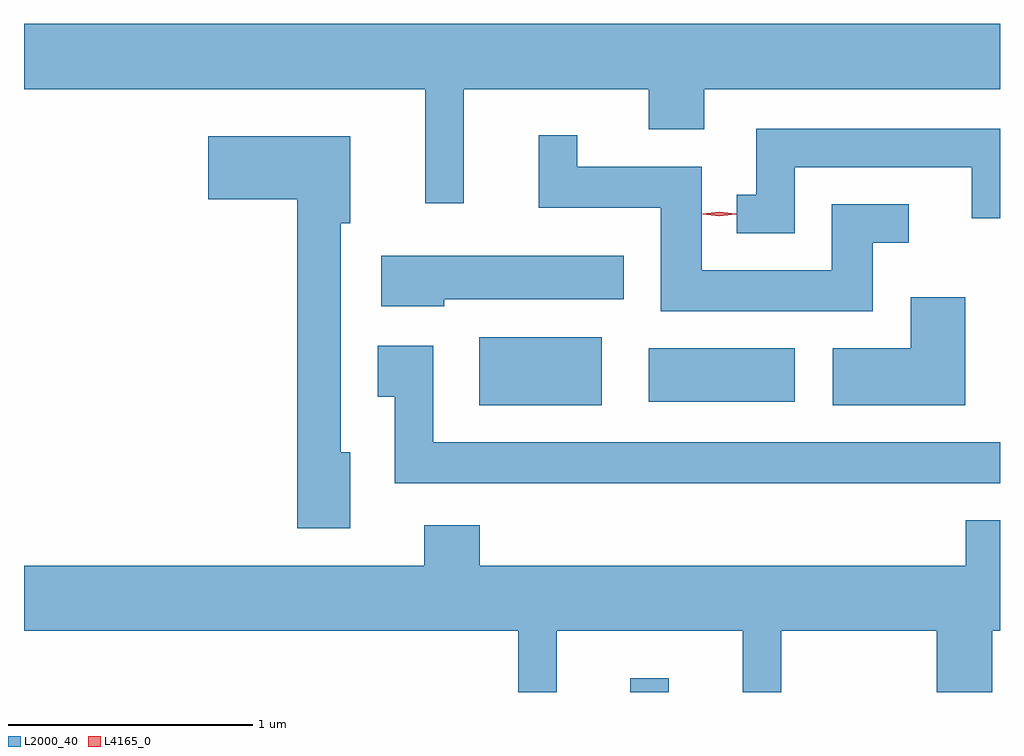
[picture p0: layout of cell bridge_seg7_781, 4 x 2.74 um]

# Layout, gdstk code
import gdstk
lib = gdstk.Library(unit=1e-6, precision=1e-09)
def R(c, l, rs):  # rectangles x0, y0, x1, y1
    for r in rs: c.add(gdstk.rectangle(r[:2], r[2:], *l))
def P(c, l, *ps):  # polygons
    for p in ps: c.add(gdstk.Polygon(p, *l))
L2000_40 = (2000, 40)
L4165_0 = (4165, 0)

bridge_seg7_781 = lib.new_cell('bridge_seg7_781')
R(bridge_seg7_781, L2000_40, [(350.596,1738.485,350.754,1738.543), (349.976,1739.661,350.479,1739.939), (350.671,1739.676,351.269,1739.894)])
P(bridge_seg7_781, L2000_40, [(349.914,1740.956),(350.671,1740.956),(350.671,1740.791),(350.899,1740.791),(350.899,1740.956),(352.111,1740.956),(352.111,1741.224),(348.111,1741.224),(348.111,1740.956),(349.756,1740.956),(349.756,1740.488),(349.914,1740.488)],
  [(351.269,1740.636),(351.996,1740.636),(351.996,1740.428),(352.111,1740.428),(352.111,1740.794),(351.111,1740.794),(351.111,1740.524),(351.033,1740.524),(351.033,1740.366),(351.269,1740.366)],
  [(351.589,1740.326),(351.738,1740.326),(351.738,1740.484),(351.421,1740.484),(351.421,1740.214),(350.889,1740.214),(350.889,1740.639),(350.379,1740.639),(350.379,1740.768),(350.221,1740.768),(350.221,1740.471),(350.721,1740.471),(350.721,1740.046),(351.589,1740.046)],
  [(349.449,1739.469),(349.409,1739.469),(349.409,1740.406),(349.449,1740.406),(349.449,1740.764),(348.866,1740.764),(348.866,1740.506),(349.231,1740.506),(349.231,1739.156),(349.449,1739.156)],
  [(349.834,1740.096),(350.569,1740.096),(350.569,1740.274),(349.576,1740.274),(349.576,1740.066),(349.834,1740.066)],
  [(351.969,1740.104),(351.746,1740.104),(351.746,1739.894),(351.426,1739.894),(351.426,1739.661),(351.969,1739.661)],
  [(352.111,1739.509),(349.789,1739.509),(349.789,1739.904),(349.561,1739.904),(349.561,1739.696),(349.631,1739.696),(349.631,1739.341),(352.111,1739.341)],
  [(350.294,1738.736),(351.056,1738.736),(351.056,1738.485),(351.214,1738.485),(351.214,1738.736),(351.851,1738.736),(351.851,1738.485),(352.079,1738.485),(352.079,1738.736),(352.111,1738.736),(352.111,1739.189),(351.971,1739.189),(351.971,1739.004),(349.979,1739.004),(349.979,1739.169),(349.751,1739.169),(349.751,1739.004),(348.111,1739.004),(348.111,1738.736),(350.136,1738.736),(350.136,1738.485),(350.294,1738.485)])
P(bridge_seg7_781, L4165_0, [(350.961,1740.435),(350.892,1740.444),(350.892,1740.444),(350.892,1740.445),(350.961,1740.454),(351.031,1740.445),(351.031,1740.445),(351.031,1740.444)])

lib.write_gds('bridge_seg7_781.gds')
